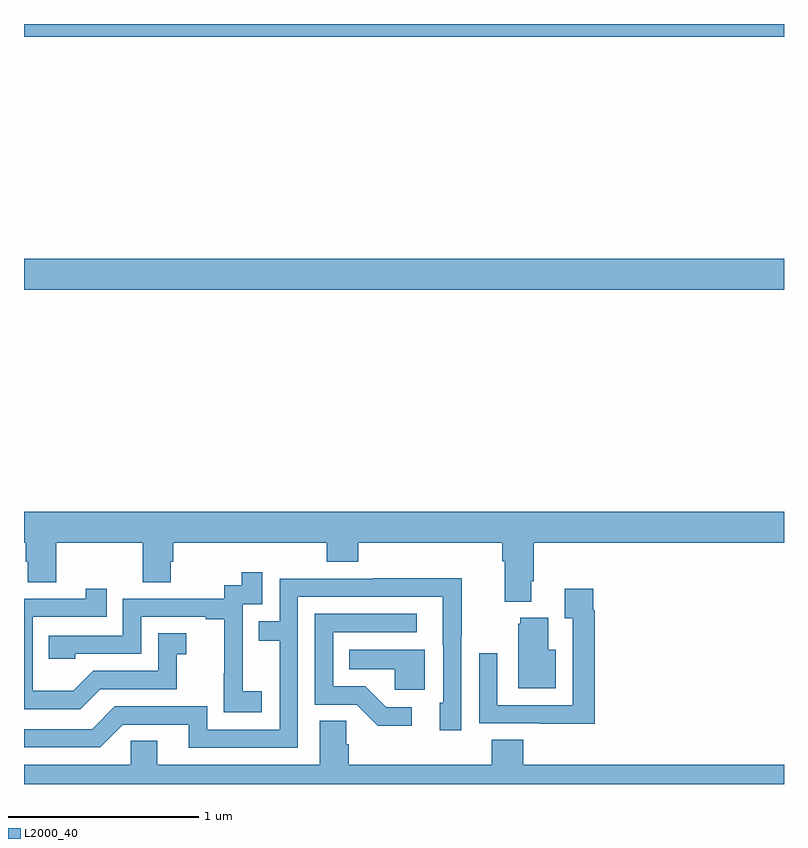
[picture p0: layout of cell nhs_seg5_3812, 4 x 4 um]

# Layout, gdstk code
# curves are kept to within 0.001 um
import gdstk
lib = gdstk.Library(unit=1e-6, precision=1e-09)
def R(c, l, rs):  # rectangles x0, y0, x1, y1
    for r in rs: c.add(gdstk.rectangle(r[:2], r[2:], *l))
def P(c, l, *ps):  # polygons
    for p in ps: c.add(gdstk.Polygon(p, *l))
L2000_40 = (2000, 40)

nhs_seg5_3812 = lib.new_cell('nhs_seg5_3812')
R(nhs_seg5_3812, L2000_40, [(335,883.4,339,883.564), (335,884.732,339,884.799)])
P(nhs_seg5_3812, L2000_40, [(337.669,881.866),(337.682,881.866),(337.682,882.068),(339,882.068),(339,882.232),(335,882.232),(335,882.068),(335.009,882.068),(335.009,881.97),(335.021,881.97),(335.021,881.86),(335.169,881.86),(335.169,882.068),(335.626,882.068),(335.626,881.86),(335.773,881.86),(335.773,881.97),(335.786,881.97),(335.786,882.068),(336.593,882.068),(336.593,881.969),(336.758,881.969),(336.758,882.068),(337.517,882.068),(337.517,881.972),(337.529,881.972),(337.529,881.759),(337.669,881.759)],
  [(336.25,881.287),(336.152,881.287),(336.152,881.516),(336.15,881.516),(336.15,881.745),(336.255,881.745),(336.255,881.914),(336.147,881.914),(336.147,881.844),(336.054,881.844),(336.054,881.775),(335.52,881.775),(335.52,881.58),(335.131,881.58),(335.131,881.457),(335.271,881.457),(335.271,881.484),(335.616,881.484),(335.616,881.679),(335.957,881.679),(335.957,881.667),(336.053,881.667),(336.053,881.383),(336.052,881.383),(336.052,881.177),(336.25,881.177)],
  [(336.441,881.784),(337.205,881.784),(337.206,881.226),(337.187,881.226),(337.187,881.082),(337.302,881.082),(337.302,881.575),(337.305,881.575),(337.305,881.882),(336.841,881.882),(336.841,881.88),(336.345,881.88),(336.345,881.655),(336.235,881.655),(336.235,881.554),(336.345,881.554),(336.345,881.085),(335.964,881.085),(335.964,881.208),(335.478,881.208),(335.358,881.088),(335,881.088),(335,880.992),(335.4,880.992),(335.52,881.112),(335.867,881.112),(335.867,880.989),(336.441,880.989)],
  [(335.401,881.298),(335.805,881.298),(335.805,881.483),(335.854,881.483),(335.854,881.593),(335.706,881.593),(335.706,881.394),(335.364,881.394),(335.26,881.29),(335.046,881.29),(335.046,881.679),(335.435,881.679),(335.435,881.827),(335.324,881.827),(335.324,881.775),(335,881.775),(335,881.193),(335.296,881.193)],
  [(338.003,881.714),(337.996,881.714),(337.996,881.827),(337.847,881.827),(337.847,881.671),(337.887,881.671),(337.887,881.214),(337.491,881.214),(337.491,881.488),(337.395,881.488),(337.395,881.118),(337.711,881.118),(337.711,881.117),(338.003,881.117)],
  [(337.042,881.202),(336.907,881.202),(336.796,881.313),(336.627,881.313),(336.627,881.598),(337.066,881.598),(337.066,881.694),(336.531,881.694),(336.531,881.217),(336.75,881.217),(336.863,881.105),(337.042,881.105)],
  [(337.798,881.506),(337.759,881.506),(337.759,881.674),(337.613,881.674),(337.613,881.643),(337.601,881.643),(337.601,881.303),(337.798,881.303)],
  [(337.108,881.506),(336.712,881.506),(336.712,881.402),(336.951,881.402),(336.951,881.294),(337.108,881.294)],
  [(339,880.9),(337.628,880.9),(337.628,881.033),(337.463,881.033),(337.463,880.9),(336.71,880.9),(336.71,881.009),(336.696,881.009),(336.696,881.132),(336.557,881.132),(336.557,880.9),(335.701,880.9),(335.701,881.027),(335.562,881.027),(335.562,880.9),(335,880.9),(335,880.799),(339,880.799)])

lib.write_gds('nhs_seg5_3812.gds')
